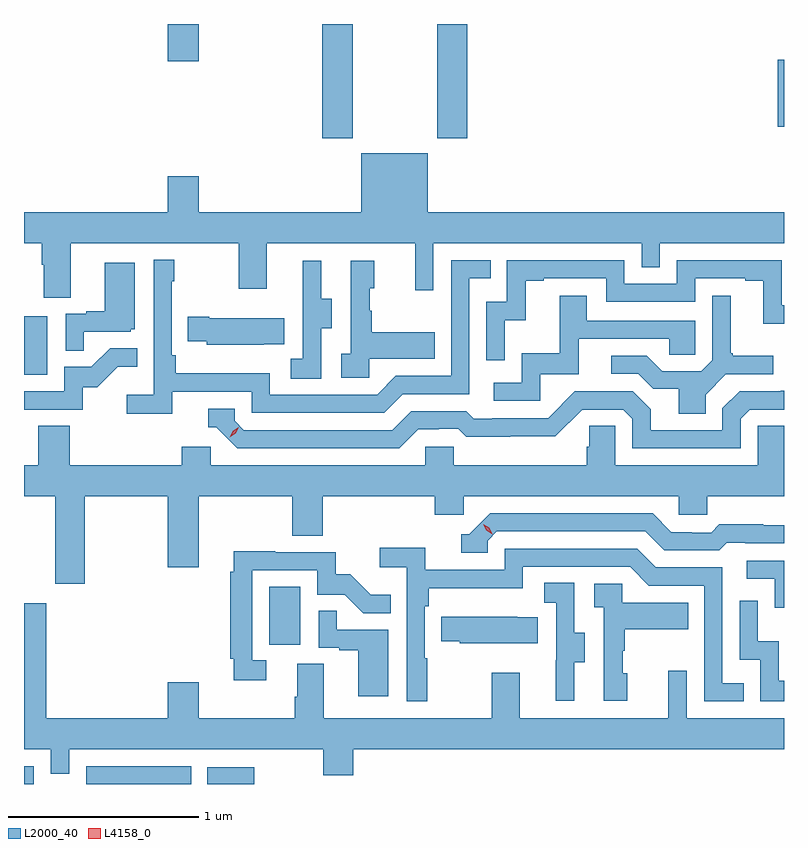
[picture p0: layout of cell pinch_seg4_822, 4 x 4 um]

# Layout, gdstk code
import gdstk
lib = gdstk.Library(unit=1e-6, precision=1e-09)
def R(c, l, rs):  # rectangles x0, y0, x1, y1
    for r in rs: c.add(gdstk.rectangle(r[:2], r[2:], *l))
def P(c, l, *ps):  # polygons
    for p in ps: c.add(gdstk.Polygon(p, *l))
L2000_40 = (2000, 40)
L4158_0 = (4158, 0)

pinch_seg4_822 = lib.new_cell('pinch_seg4_822')
R(pinch_seg4_822, L2000_40, [(823.592,789.978,823.644,790.071), (823.92,789.978,824.472,790.071), (824.557,789.978,824.803,790.065), (824.882,790.71,825.046,791.017), (823.592,792.132,823.714,792.439), (825.161,793.377,825.321,793.978), (825.766,793.377,825.926,793.978), (827.558,793.436,827.592,793.789), (824.348,793.782,824.512,793.978)])
P(pinch_seg4_822, L2000_40, [(823.837,792.824),(824.722,792.824),(824.722,792.585),(824.869,792.585),(824.869,792.824),(825.65,792.824),(825.65,792.576),(825.747,792.576),(825.747,792.824),(826.842,792.824),(826.842,792.697),(826.938,792.697),(826.938,792.824),(827.592,792.824),(827.592,792.988),(825.718,792.988),(825.718,793.297),(825.368,793.297),(825.368,792.988),(824.512,792.988),(824.512,793.177),(824.348,793.177),(824.348,792.988),(823.592,792.988),(823.592,792.824),(823.685,792.824),(823.685,792.712),(823.697,792.712),(823.697,792.538),(823.837,792.538)],
  [(824.372,792.042),(824.79,792.042),(824.79,791.931),(825.487,791.931),(825.586,792.03),(825.936,792.03),(825.936,792.639),(826.049,792.639),(826.049,792.735),(825.84,792.735),(825.84,792.126),(825.549,792.126),(825.45,792.027),(824.886,792.027),(824.886,792.139),(824.39,792.139),(824.39,792.235),(824.37,792.235),(824.37,792.623),(824.383,792.623),(824.383,792.736),(824.274,792.736),(824.274,792.028),(824.133,792.028),(824.133,791.926),(824.372,791.926)],
  [(826.122,792.419),(826.232,792.419),(826.232,792.627),(826.327,792.627),(826.327,792.639),(826.656,792.639),(826.656,792.516),(827.124,792.516),(827.124,792.639),(827.387,792.639),(827.387,792.627),(827.483,792.627),(827.483,792.401),(827.592,792.401),(827.592,792.499),(827.58,792.499),(827.58,792.735),(827.028,792.735),(827.028,792.612),(826.752,792.612),(826.752,792.735),(826.134,792.735),(826.134,792.516),(826.026,792.516),(826.026,792.207),(826.122,792.207)],
  [(825.408,792.215),(825.755,792.215),(825.755,792.355),(825.421,792.355),(825.421,792.47),(825.411,792.47),(825.411,792.588),(825.436,792.588),(825.436,792.733),(825.312,792.733),(825.312,792.242),(825.261,792.242),(825.261,792.117),(825.408,792.117)],
  [(825.156,792.376),(825.211,792.376),(825.211,792.531),(825.157,792.531),(825.157,792.733),(825.059,792.733),(825.059,792.519),(825.06,792.519),(825.06,792.215),(824.997,792.215),(824.997,792.112),(825.156,792.112)],
  [(823.907,792.357),(824.154,792.357),(824.154,792.372),(824.176,792.372),(824.176,792.721),(824.018,792.721),(824.018,792.466),(823.919,792.466),(823.919,792.453),(823.812,792.453),(823.812,792.259),(823.907,792.259)],
  [(826.308,792.135),(826.513,792.135),(826.513,792.321),(826.987,792.321),(826.987,792.237),(827.124,792.237),(827.124,792.417),(826.555,792.417),(826.555,792.547),(826.411,792.547),(826.411,792.244),(826.212,792.244),(826.212,792.09),(826.065,792.09),(826.065,791.994),(826.308,791.994)],
  [(827.179,792.028),(827.286,792.135),(827.536,792.135),(827.536,792.232),(827.323,792.232),(827.323,792.244),(827.311,792.244),(827.311,792.547),(827.214,792.547),(827.214,792.207),(827.157,792.15),(826.951,792.15),(826.87,792.231),(826.683,792.231),(826.683,792.138),(826.824,792.138),(826.904,792.058),(827.039,792.058),(827.039,791.926),(827.179,791.926)],
  [(824.855,792.293),(824.963,792.293),(824.963,792.43),(824.566,792.43),(824.566,792.438),(824.455,792.438),(824.455,792.308),(824.553,792.308),(824.553,792.29),(824.855,792.29)],
  [(823.902,792.066),(823.978,792.066),(824.085,792.173),(824.189,792.173),(824.189,792.272),(824.045,792.272),(823.947,792.174),(823.803,792.174),(823.803,792.045),(823.592,792.045),(823.592,791.949),(823.902,791.949)],
  [(825.667,791.844),(825.774,791.844),(825.774,791.847),(825.877,791.847),(825.919,791.805),(826.152,791.805),(826.152,791.807),(826.388,791.807),(826.53,791.949),(826.746,791.949),(826.794,791.901),(826.794,791.745),(827.364,791.745),(827.364,791.901),(827.412,791.949),(827.592,791.949),(827.592,792.047),(827.574,792.047),(827.574,792.045),(827.358,792.045),(827.268,791.955),(827.268,791.841),(826.891,791.841),(826.891,791.951),(826.797,792.045),(826.491,792.045),(826.35,791.904),(826.057,791.904),(826.057,791.901),(825.958,791.901),(825.919,791.94),(825.63,791.94),(825.531,791.841),(824.748,791.841),(824.7,791.889),(824.7,791.952),(824.561,791.952),(824.561,791.856),(824.604,791.856),(824.715,791.745),(825.568,791.745)],
  [(823.911,791.492),(824.348,791.492),(824.348,791.118),(824.512,791.118),(824.512,791.492),(825.004,791.492),(825.004,791.284),(825.164,791.284),(825.164,791.492),(825.755,791.492),(825.755,791.394),(825.906,791.394),(825.906,791.492),(827.037,791.492),(827.037,791.394),(827.187,791.394),(827.187,791.492),(827.592,791.492),(827.592,791.864),(827.454,791.864),(827.454,791.656),(826.704,791.656),(826.704,791.864),(826.567,791.864),(826.567,791.754),(826.553,791.754),(826.553,791.656),(825.855,791.656),(825.855,791.754),(825.705,791.754),(825.705,791.656),(824.574,791.656),(824.574,791.754),(824.423,791.754),(824.423,791.656),(823.832,791.656),(823.832,791.864),(823.667,791.864),(823.667,791.656),(823.592,791.656),(823.592,791.492),(823.756,791.492),(823.756,791.031),(823.911,791.031)],
  [(826.032,791.259),(826.08,791.307),(826.863,791.307),(826.962,791.208),(827.251,791.208),(827.29,791.247),(827.389,791.247),(827.389,791.244),(827.592,791.244),(827.592,791.341),(827.484,791.341),(827.484,791.344),(827.251,791.344),(827.209,791.301),(827.106,791.301),(827.106,791.304),(826.999,791.304),(826.9,791.403),(826.047,791.403),(825.936,791.292),(825.893,791.292),(825.893,791.196),(826.032,791.196)],
  [(825.715,790.64),(825.702,790.64),(825.702,790.913),(825.722,790.913),(825.722,791.009),(826.218,791.009),(826.218,791.121),(826.782,791.121),(826.881,791.022),(827.172,791.022),(827.172,790.413),(827.381,790.413),(827.381,790.509),(827.268,790.509),(827.268,791.118),(826.918,791.118),(826.819,791.217),(826.122,791.217),(826.122,791.106),(825.704,791.106),(825.704,791.222),(825.465,791.222),(825.465,791.12),(825.606,791.12),(825.606,790.413),(825.715,790.413)],
  [(824.866,790.629),(824.793,790.629),(824.793,791.103),(825.135,791.103),(825.135,790.974),(825.279,790.974),(825.377,790.876),(825.521,790.876),(825.521,790.975),(825.417,790.975),(825.31,791.082),(825.234,791.082),(825.234,791.199),(824.915,791.199),(824.915,791.204),(824.696,791.204),(824.696,791.096),(824.677,791.096),(824.677,790.636),(824.696,790.636),(824.696,790.524),(824.866,790.524)],
  [(827.592,791.154),(827.397,791.154),(827.397,791.058),(827.544,791.058),(827.544,790.905),(827.592,790.905)],
  [(826.489,790.618),(826.543,790.618),(826.543,790.773),(826.488,790.773),(826.488,791.036),(826.329,791.036),(826.329,790.933),(826.392,790.933),(826.392,790.629),(826.391,790.629),(826.391,790.416),(826.489,790.416)],
  [(826.768,790.56),(826.743,790.56),(826.743,790.679),(826.753,790.679),(826.753,790.793),(827.087,790.793),(827.087,790.933),(826.74,790.933),(826.74,791.031),(826.593,791.031),(826.593,790.907),(826.644,790.907),(826.644,790.416),(826.768,790.416)],
  [(827.592,790.522),(827.564,790.522),(827.564,790.73),(827.454,790.73),(827.454,790.942),(827.358,790.942),(827.358,790.632),(827.466,790.632),(827.466,790.413),(827.592,790.413)],
  [(825.326,790.16),(827.592,790.16),(827.592,790.324),(827.079,790.324),(827.079,790.573),(826.982,790.573),(826.982,790.324),(826.201,790.324),(826.201,790.564),(826.054,790.564),(826.054,790.324),(825.169,790.324),(825.169,790.61),(825.029,790.61),(825.029,790.436),(825.017,790.436),(825.017,790.324),(824.512,790.324),(824.512,790.513),(824.348,790.513),(824.348,790.324),(823.708,790.324),(823.708,790.93),(823.592,790.93),(823.592,790.16),(823.734,790.16),(823.734,790.033),(823.83,790.033),(823.83,790.16),(825.166,790.16),(825.166,790.025),(825.326,790.025)],
  [(825.508,790.791),(825.239,790.791),(825.239,790.889),(825.144,790.889),(825.144,790.695),(825.251,790.695),(825.251,790.683),(825.35,790.683),(825.35,790.44),(825.508,790.44)],
  [(826.295,790.855),(826.187,790.855),(826.187,790.858),(825.787,790.858),(825.787,790.729),(825.885,790.729),(825.885,790.718),(826.295,790.718)])
P(pinch_seg4_822, L4158_0, [(824.676,791.804),(824.676,791.804),(824.692,791.837),(824.723,791.856),(824.723,791.856),(824.723,791.856),(824.707,791.823),(824.676,791.804)],
  [(826.057,791.293),(826.026,791.313),(826.009,791.345),(826.009,791.346),(826.01,791.346),(826.041,791.326),(826.057,791.294),(826.057,791.293)])

lib.write_gds('pinch_seg4_822.gds')
